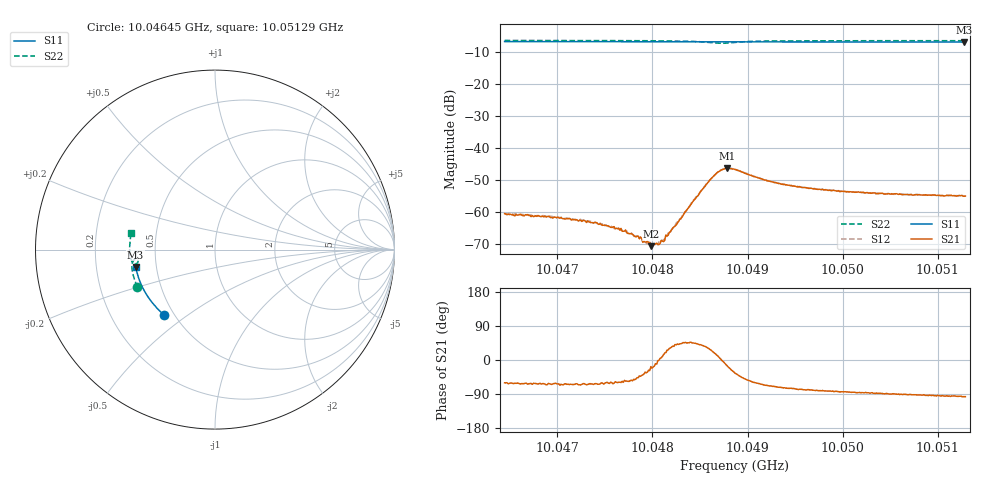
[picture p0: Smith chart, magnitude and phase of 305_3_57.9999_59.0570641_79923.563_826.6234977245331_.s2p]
#  HZ  S  RI  R  50.00
! Rohde & Schwarz Vector Network Analyzer
! Rohde-Schwarz,ZNB20-2Port,1311601062101988,3.16
! Created: UTC 3/21/2024, 1:03:58 AM
! freq[Hz]  re:S11  im:S11  re:S21  im:S21  re:S12  im:S12  re:S22  im:S22
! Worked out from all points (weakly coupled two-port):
!   401 points, 10.04645 GHz to 10.05129 GHz, reference 50 ohm
!   highest |S21| = -46.26 dB at 10.04878 GHz (marker M1); lowest = -70.5 dB at 10.04798 GHz (marker M2)
!   lowest |S11| = -6.9 dB at 10.05128 GHz (marker M3), VSWR 2.65, Z = 19 - j4.6 ohm
!   |S11| at or under -10 dB: nowhere
!   |S22| runs from -7.3 to -6.4 dB; largest |S21 - S12| = 0.00032
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1.0046447e10  -0.283 -0.3642  0.000477 -0.000832  0.000546 -0.000797  -0.432 -0.2085
1.0046919e10  -0.3064 -0.3433  0.000388 -0.000757  0.00046 -0.000754  -0.4441 -0.1793
1.0047258e10  -0.3222 -0.3275  0.000315 -0.000654  0.000357 -0.000654  -0.4516 -0.1573
1.0047428e10  -0.3298 -0.3193  0.000289 -0.000595  0.000337 -0.000555  -0.4548 -0.1458
1.0047706e10  -0.3419 -0.3054  0.0003 -0.000412  0.000327 -0.000411  -0.4597 -0.1266
1.0047864e10  -0.3485 -0.2972  0.000288 -0.00026  0.000303 -0.000265  -0.4617 -0.1152
1.0047924e10  -0.3509 -0.2942  0.000292 -0.000183  0.000303 -0.000199  -0.4622 -0.1105
1.0047985e10  -0.3534 -0.291  0.000284 -8.9e-05  0.000316 -8.93e-05  -0.4628 -0.1059
1.0048069e10  -0.357 -0.2867  0.000315 -3.68e-06  0.000348 2.3e-05  -0.4636 -0.0993
1.0048106e10  -0.3581 -0.2848  0.000352 6.03e-05  0.000352 9.37e-05  -0.4636 -0.0962
1.0048203e10  -0.3622 -0.2797  0.000441 0.000303  0.000433 0.000327  -0.4638 -0.0882
1.0048432e10  -0.3707 -0.2672  0.00107 0.00107  0.00104 0.00116  -0.4588 -0.0666
1.0048626e10  -0.3775 -0.2564  0.00317 0.0014  0.00308 0.00161  -0.4398 -0.0541
1.0048711e10  -0.3804 -0.2518  0.00443 0.000309  0.00445 0.000619  -0.4296 -0.0607
1.0048784e10  -0.3829 -0.2479  0.0047 -0.00124  0.00478 -0.000935  -0.4299 -0.0716
1.0048868e10  -0.3859 -0.2433  0.00384 -0.00266  0.00407 -0.00243  -0.4404 -0.0782
1.0049231e10  -0.3976 -0.2225  0.00112 -0.00285  0.00131 -0.00278  -0.4686 -0.0528
1.0049679e10  -0.4105 -0.1958  0.000426 -0.00231  0.000548 -0.0023  -0.4747 -0.0173
1.005003e10  -0.4193 -0.1747  0.000228 -0.0021  0.000318 -0.00208  -0.4755 0.00786
1.005049e10  -0.4295 -0.1461  4.95e-06 -0.00196  0.000134 -0.00194  -0.474 0.0393
1.0051277e10  -0.4423 -0.0962  -0.000207 -0.00178  -7.43e-05 -0.00178  -0.4664 0.0914
1.0051289e10  -0.4424 -0.0955  -0.000213 -0.00179  -0.000118 -0.0018  -0.4664 0.0923
